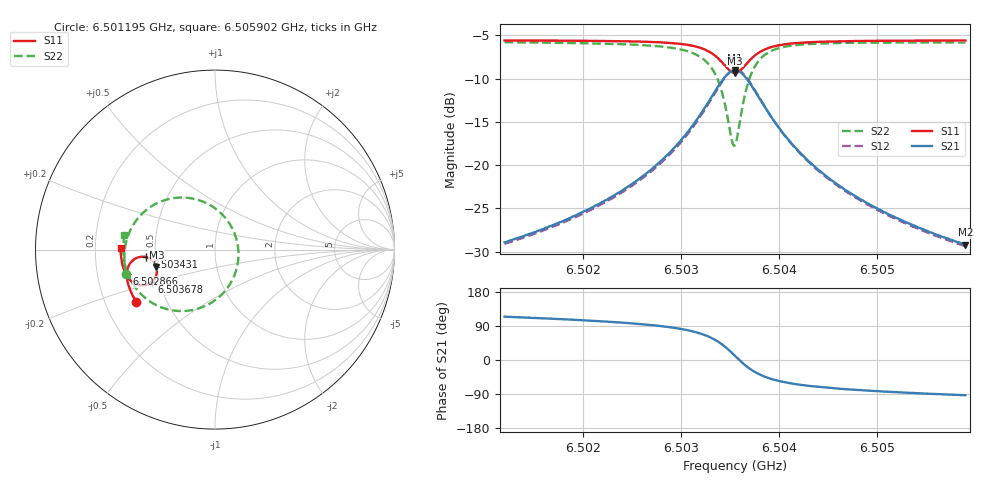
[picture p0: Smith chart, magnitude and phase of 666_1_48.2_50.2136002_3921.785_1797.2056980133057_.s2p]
#  HZ  S  RI  R  50.00
! Rohde & Schwarz Vector Network Analyzer
! Rohde-Schwarz,ZNB20-2Port,1311601062101988,3.16
! Created: UTC 3/20/2024, 12:05:55 PM
! freq[Hz]  re:S11  im:S11  re:S21  im:S21  re:S12  im:S12  re:S22  im:S22
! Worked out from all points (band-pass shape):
!   401 points, 6.501195 GHz to 6.505902 GHz, reference 50 ohm
!   highest |S21| = -9.03 dB at 6.503549 GHz (marker M1); lowest = -29.2 dB at 6.505902 GHz (marker M2)
!   |S21| within 3 dB of the highest: 6.503314 GHz to 6.503785 GHz (471 kHz wide, 0.00724 % of centre)
!   lowest |S11| = -9.3 dB at 6.503549 GHz (marker M3), VSWR 2.03, Z = 25 - j5.46 ohm
!   |S11| at or under -10 dB: nowhere
!   |S22| runs from -17.8 to -5.8 dB; largest |S21 - S12| = 0.014
!   S11 on the Smith chart (normalised r, x): 6.501195 GHz: 0.34, -0.27; 6.502866 GHz: 0.33, -0.12; 6.503431 GHz: 0.45, -0.04; 6.503678 GHz: 0.46, -0.19; 6.505902 GHz: 0.31, +0.01
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6.501195e9  -0.4381 -0.2914  -0.0147 0.0326  -0.0128 0.0326  -0.4958 -0.1335
6.5019834e9  -0.4701 -0.2308  -0.0138 0.0514  -0.011 0.0508  -0.5052 -0.0458
6.5023953e9  -0.4836 -0.1931  -0.0106 0.0704  -0.00725 0.0692  -0.5004 0.016
6.5027719e9  -0.4915 -0.1495  -8.13e-05 0.1031  0.00392 0.1005  -0.4772 0.0963
6.5028661e9  -0.4915 -0.1359  0.00565 0.1156  0.00996 0.1125  -0.464 0.1233
6.5030661e9  -0.4855 -0.1015  0.0308 0.1525  0.035 0.1475  -0.4121 0.194
6.5032073e9  -0.4688 -0.071  0.0727 0.1876  0.0759 0.1808  -0.3315 0.2542
6.5033368e9  -0.4311 -0.0442  0.153 0.2138  0.1543 0.2066  -0.1854 0.2902
6.5034309e9  -0.3826 -0.0424  0.2479 0.1959  0.2485 0.1901  -0.0208 0.2441
6.5035133e9  -0.3382 -0.0734  0.3289 0.1177  0.332 0.1124  0.1089 0.0903
6.5035486e9  -0.3268 -0.0967  0.3471 0.067  0.3512 0.0602  0.1305 -0.00553
6.5035722e9  -0.3238 -0.1138  0.3506 0.0308  0.3549 0.0226  0.1276 -0.0718
6.5036075e9  -0.3262 -0.1389  0.3427 -0.0215  0.3465 -0.032  0.0989 -0.165
6.5036781e9  -0.3496 -0.1779  0.2936 -0.1008  0.2933 -0.1142  -0.0168 -0.2938
6.5037722e9  -0.3922 -0.1985  0.2118 -0.1456  0.2059 -0.1573  -0.1838 -0.3425
6.5038428e9  -0.4192 -0.1984  0.162 -0.1508  0.1544 -0.1599  -0.2767 -0.3292
6.5039252e9  -0.4432 -0.1911  0.1198 -0.1445  0.1117 -0.1508  -0.3509 -0.2963
6.50409e9  -0.4731 -0.1699  0.07 -0.1225  0.0626 -0.1254  -0.4318 -0.2266
6.5043371e9  -0.4959 -0.1385  0.0359 -0.0945  0.0303 -0.095  -0.481 -0.1464
6.5046784e9  -0.5112 -0.1011  0.0162 -0.0698  0.0124 -0.0696  -0.5042 -0.0718
6.5051256e9  -0.5208 -0.0584  0.00548 -0.0514  0.00287 -0.0507  -0.5113 -0.00381
6.5059023e9  -0.5259 0.00825  -0.00178 -0.0346  -0.0035 -0.0338  -0.5047 0.0824
